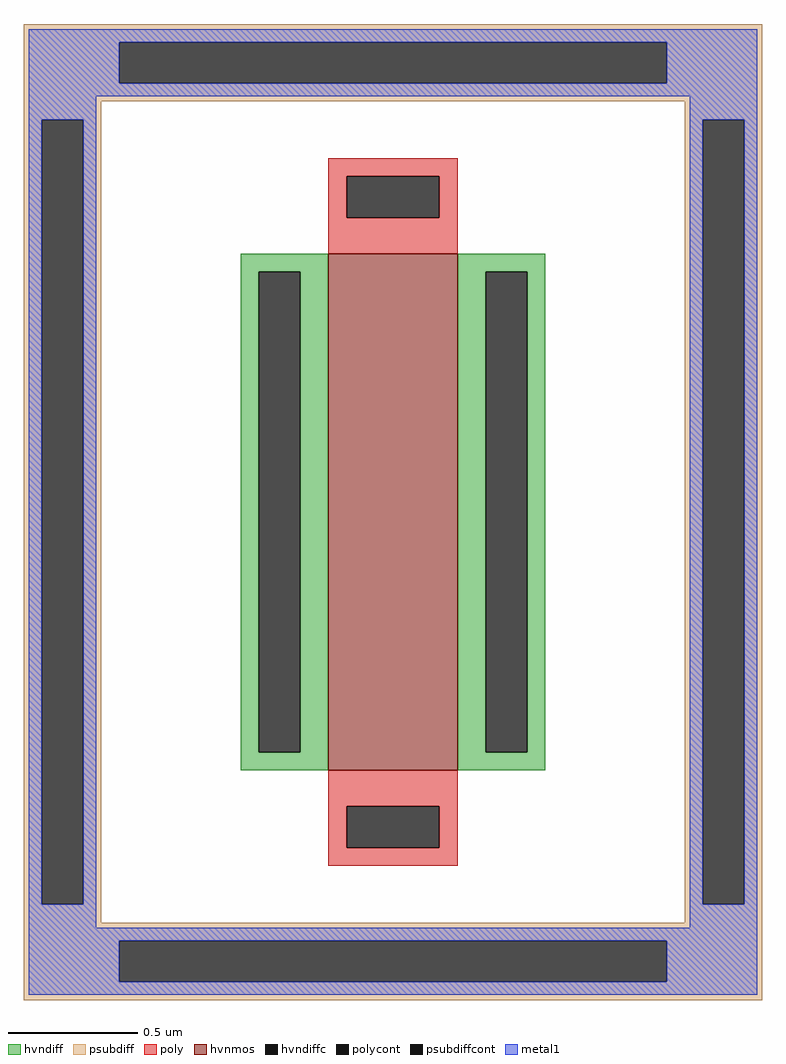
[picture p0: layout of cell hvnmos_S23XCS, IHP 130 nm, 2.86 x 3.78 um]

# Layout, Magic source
magic
tech ihp-sg13g2
<< hvnmos >>
rect -25 -100 25 100
<< hvndiff >>
rect -59 93 -25 100
rect -59 -93 -52 93
rect -36 -93 -25 93
rect -59 -100 -25 -93
rect 25 93 59 100
rect 25 -93 36 93
rect 52 -93 59 93
rect 25 -100 59 -93
<< hvndiffc >>
rect -52 -93 -36 93
rect 36 -93 52 93
<< psubdiff >>
rect -143 182 143 189
rect -143 166 -106 182
rect 106 166 143 182
rect -143 159 143 166
rect -143 152 -113 159
rect -143 -152 -136 152
rect -120 -152 -113 152
rect 113 152 143 159
rect -143 -159 -113 -152
rect 113 -152 120 152
rect 136 -152 143 152
rect 113 -159 143 -152
rect -143 -166 143 -159
rect -143 -182 -106 -166
rect 106 -182 143 -166
rect -143 -189 143 -182
<< psubdiffcont >>
rect -106 166 106 182
rect -136 -152 -120 152
rect 120 -152 136 152
rect -106 -182 106 -166
<< poly >>
rect -25 130 25 137
rect -25 114 -18 130
rect 18 114 25 130
rect -25 100 25 114
rect -25 -114 25 -100
rect -25 -130 -18 -114
rect 18 -130 25 -114
rect -25 -137 25 -130
<< polycont >>
rect -18 114 18 130
rect -18 -130 18 -114
<< metal1 >>
rect -141 182 141 187
rect -141 166 -106 182
rect 106 166 141 182
rect -141 161 141 166
rect -141 152 -115 161
rect -141 -152 -136 152
rect -120 -152 -115 152
rect 115 152 141 161
rect -141 -161 -115 -152
rect 115 -152 120 152
rect 136 -152 141 152
rect 115 -161 141 -152
rect -141 -166 141 -161
rect -141 -182 -106 -166
rect 106 -182 141 -166
rect -141 -187 141 -182
<< properties >>
string gencell hvnmos
string library sg13g2_devstdin
string parameters w 2 l 0.5 nf 1 nx 1 dx 0.21 ny 1 dy 0.18 wmin 0.50 lmin 0.50 class mosfet gcontcov_t 100 gcontcov_b 100 dcontcov_l 100 dcontcov_r 100 guard_distf 1 glc 1 grc 1 gtc 1 gbc 1
<< end >>
